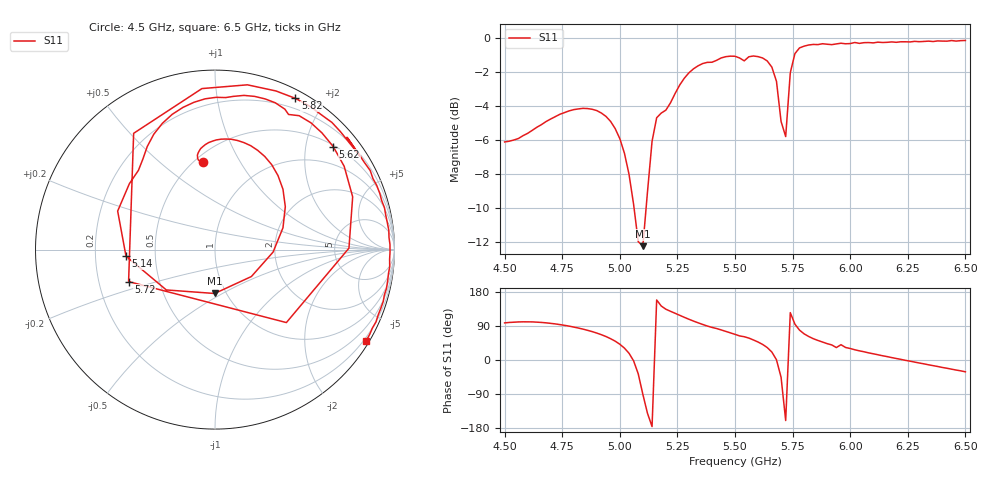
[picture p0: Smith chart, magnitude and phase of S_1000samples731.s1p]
! TOUCHSTONE file generated by CST MICROWAVE STUDIO
! Date and time: Sat Oct 29 04:48:48 2022
! Project name: L.cst
! Parameters = {Di=1.27; Epsilon_r=1.56; InnerDiameter=1.27; Length=2; Lf=10; Lg=60; OuterConductorThickness=0.2921; OuterDiameter=3.6; Wf=3; Wp=41.2; de=1.5; df=6.8; g=0.8; gx=1.129; gy=3.89354; h=2.34; hf=1.524; px=14.8398; py=10.1375; w=9.7; wx=13.7108; wy=6.24395}
! Header version: 2018
! Port assignment regex: !\s*Touchstone port\s*([0-9]+)\s*=\s*(CST MWS port|CST DS port)\s*([0-9]+|Zmin|Zmax)\s*\(\"(.*)\"\)(\s*mode\s*([0-9]+))?.*
! Touchstone port assignment:
! Touchstone port 1 = CST MWS port 1 ("")
# GHz S DB R 50
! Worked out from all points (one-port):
!   101 points, 4.5 GHz to 6.5 GHz, reference 50 ohm
!   lowest |S11| = -12.2 dB at 5.1 GHz (marker M1), VSWR 1.65, Z = 44.2 - j23 ohm
!   |S11| at or under -10 dB: 5.062 GHz to 5.114 GHz (52.14 MHz wide, 1.02 % of centre)
!   S11 on the Smith chart (normalised r, x): 4.5 GHz: 0.55, +0.71; 5.14 GHz: 0.34, -0.03; 5.62 GHz: 0.53, +2.57; 5.72 GHz: 0.33, -0.16; 5.82 GHz: 0.09, +1.66; 6.5 GHz: 0.11, -3.59
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4.5  -6.11 97.9
4.62  -5.42 100.5
4.76  -4.38 91.5
4.9  -4.26 71.1
5  -5.91 41.6
5.06  -9.79 -2.4
5.1  -12.23 -90.4
5.12  -9.06 -140.3
5.14  -6.07 -175.7
5.16  -4.68 158.4
5.18  -4.41 142.4
5.26  -2.76 117.9
5.36  -1.50 93.7
5.5  -1.07 67.7
5.62  -1.17 41.1
5.66  -1.71 21.0
5.68  -2.54 0.6
5.7  -4.90 -45.6
5.72  -5.79 -159.7
5.74  -2.04 125.0
5.76  -0.91 94.6
5.78  -0.58 78.9
5.82  -0.41 62.0
5.94  -0.34 32.8
5.96  -0.30 40.4
6  -0.32 30.3
6.26  -0.23 -3.1
6.5  -0.14 -31.1
